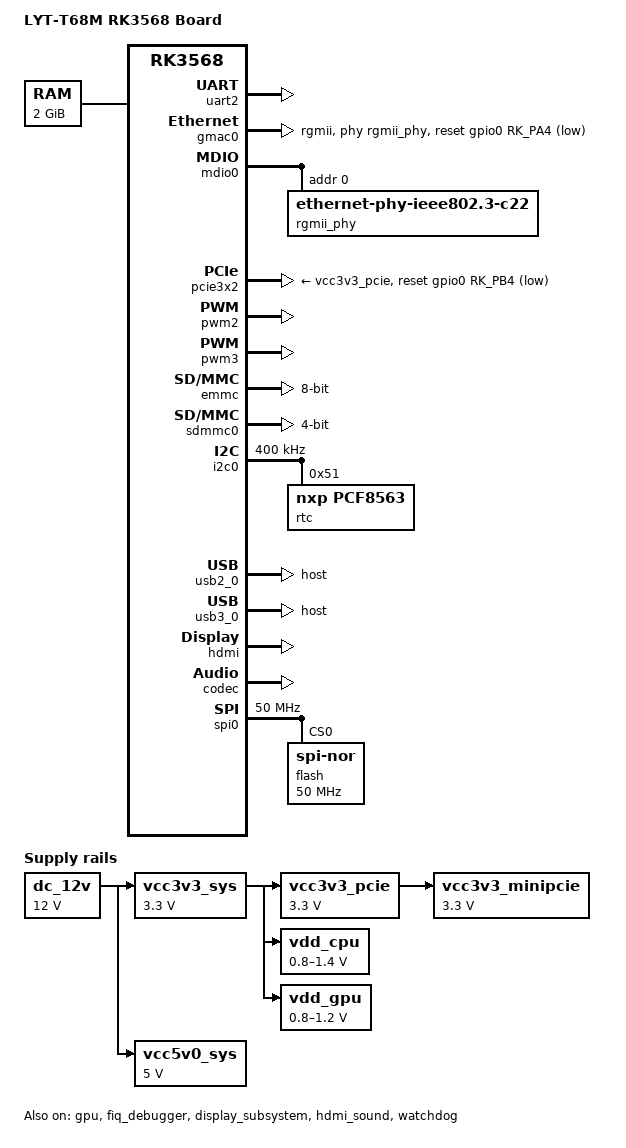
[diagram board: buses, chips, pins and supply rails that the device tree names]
// SPDX-License-Identifier: (GPL-2.0+ OR MIT)
/*
 * Copyright (c) 2021 Rockchip Electronics Co., Ltd.
 * Copyright (c) 2024 LYT Technology
 */

/dts-v1/;
#include "rk3568.dtsi"

/ {
	model = "LYT-T68M RK3568 Board";
	compatible = "lyt,t68m", "rockchip,rk3568";

	aliases {
		serial0 = &uart2;
		ethernet0 = &gmac0;
	};

	chosen {
		stdout-path = "serial0:115200n8";
	};

	memory@0 {
		device_type = "memory";
		reg = <0x0 0x0 0x0 0x80000000>; // 2GB RAM
	};

	dc_12v: dc-12v {
		compatible = "regulator-fixed";
		regulator-name = "dc_12v";
		regulator-min-microvolt = <12000000>;
		regulator-max-microvolt = <12000000>;
		regulator-always-on;
		regulator-boot-on;
	};

	vcc3v3_sys: vcc3v3-sys {
		compatible = "regulator-fixed";
		regulator-name = "vcc3v3_sys";
		regulator-min-microvolt = <3300000>;
		regulator-max-microvolt = <3300000>;
		vin-supply = <&dc_12v>;
		regulator-always-on;
		regulator-boot-on;
	};

	vcc5v0_sys: vcc5v0-sys {
		compatible = "regulator-fixed";
		regulator-name = "vcc5v0_sys";
		regulator-min-microvolt = <5000000>;
		regulator-max-microvolt = <5000000>;
		vin-supply = <&dc_12v>;
		regulator-always-on;
		regulator-boot-on;
	};

	vcc3v3_pcie: vcc3v3-pcie {
		compatible = "regulator-fixed";
		regulator-name = "vcc3v3_pcie";
		regulator-min-microvolt = <3300000>;
		regulator-max-microvolt = <3300000>;
		vin-supply = <&vcc3v3_sys>;
		regulator-always-on;
		regulator-boot-on;
	};

	vcc3v3_minipcie: vcc3v3-minipcie {
		compatible = "regulator-fixed";
		regulator-name = "vcc3v3_minipcie";
		regulator-min-microvolt = <3300000>;
		regulator-max-microvolt = <3300000>;
		vin-supply = <&vcc3v3_pcie>;
		regulator-always-on;
		regulator-boot-on;
	};

	vdd_cpu: vdd-cpu {
		compatible = "pwm-regulator";
		regulator-name = "vdd_cpu";
		regulator-min-microvolt = <800000>;
		regulator-max-microvolt = <1400000>;
		pwm-supply = <&vcc3v3_sys>;
		pwms = <&pwm2 0 2500 0>;
		pwm-dutycycle-range = <100 0>;
		regulator-always-on;
		regulator-boot-on;
	};

	vdd_gpu: vdd-gpu {
		compatible = "pwm-regulator";
		regulator-name = "vdd_gpu";
		regulator-min-microvolt = <800000>;
		regulator-max-microvolt = <1200000>;
		pwm-supply = <&vcc3v3_sys>;
		pwms = <&pwm3 0 2500 0>;
		pwm-dutycycle-range = <100 0>;
		regulator-always-on;
		regulator-boot-on;
	};
};

&cpu0 {
	cpu-supply = <&vdd_cpu>;
	operating-points-v2 = <&cpu_opp_table>;
	clocks = <&cru CLK_CPU>;
	clock-latency = <100000>;
};

&cpu1 {
	cpu-supply = <&vdd_cpu>;
	operating-points-v2 = <&cpu_opp_table>;
	clocks = <&cru CLK_CPU>;
	clock-latency = <100000>;
};

&cpu2 {
	cpu-supply = <&vdd_cpu>;
	operating-points-v2 = <&cpu_opp_table>;
	clocks = <&cru CLK_CPU>;
	clock-latency = <100000>;
};

&cpu3 {
	cpu-supply = <&vdd_cpu>;
	operating-points-v2 = <&cpu_opp_table>;
	clocks = <&cru CLK_CPU>;
	clock-latency = <100000>;
};

&gpu {
	mali-supply = <&vdd_gpu>;
	operating-points-v2 = <&gpu_opp_table>;
	clocks = <&cru CLK_GPU>;
	clock-latency = <100000>;
	status = "okay";
};

&cpu_opp_table {
	opp-1008000000 {
		opp-hz = /bits/ 64 <1008000000>;
		opp-microvolt = <800000>;
	};
	opp-1200000000 {
		opp-hz = /bits/ 64 <1200000000>;
		opp-microvolt = <850000>;
	};
	opp-1416000000 {
		opp-hz = /bits/ 64 <1416000000>;
		opp-microvolt = <900000>;
	};
	opp-1512000000 {
		opp-hz = /bits/ 64 <1512000000>;
		opp-microvolt = <950000>;
	};
	opp-1608000000 {
		opp-hz = /bits/ 64 <1608000000>;
		opp-microvolt = <1000000>;
	};
	opp-1704000000 {
		opp-hz = /bits/ 64 <1704000000>;
		opp-microvolt = <1050000>;
	};
	opp-1800000000 {
		opp-hz = /bits/ 64 <1800000000>;
		opp-microvolt = <1100000>;
	};
};

&gpu_opp_table {
	opp-200000000 {
		opp-hz = /bits/ 64 <200000000>;
		opp-microvolt = <800000>;
	};
	opp-400000000 {
		opp-hz = /bits/ 64 <400000000>;
		opp-microvolt = <850000>;
	};
	opp-600000000 {
		opp-hz = /bits/ 64 <600000000>;
		opp-microvolt = <900000>;
	};
	opp-800000000 {
		opp-hz = /bits/ 64 <800000000>;
		opp-microvolt = <950000>;
	};
};

&uart2 {
	status = "okay";
	pinctrl-0 = <&uart2m0_xfer>;
	pinctrl-names = "default";
};

&fiq_debugger {
	compatible = "rockchip,fiq-debugger";
	rockchip,serial-id = <2>;
	rockchip,phy-mode = "uart";
	rockchip,reg-phy-mask = <0x20>;
	interrupts = <GIC_SPI 25 IRQ_TYPE_LEVEL_HIGH>;
	rockchip,baudrate = <115200>; /* Standard baudrate for debug */
	status = "okay";
};

&gmac0 {
	phy-handle = <&rgmii_phy>;
	phy-mode = "rgmii";
	clock_in_out = "output";
	snps,reset-gpio = <&gpio0 RK_PA4 GPIO_ACTIVE_LOW>;
	snps,reset-active-low;
	snps,reset-delays-us = <0 10000 1000000>;
	pinctrl-0 = <&gmac0_miim
		     &gmac0_rgmii_clk
		     &gmac0_rgmii_tx
		     &gmac0_rgmii_rx>;
	pinctrl-names = "default";
	status = "okay";
};

&mdio0 {
	rgmii_phy: ethernet-phy@0 {
		compatible = "ethernet-phy-ieee802.3-c22";
		reg = <0>;
		phy-mode = "rgmii";
	};
};

&pcie3x2 {
	reset-gpios = <&gpio0 RK_PB4 GPIO_ACTIVE_LOW>;
	vpcie3v3-supply = <&vcc3v3_pcie>;
	vpcie1v8-supply = <&vcc3v3_sys>;
	vpcie0v9-supply = <&vcc3v3_sys>;
	pinctrl-0 = <&pcie3x2_rst>;
	pinctrl-names = "default";
	status = "okay";
	
	pcie@00 {
		reg = <0x000000 0 0 0 0>;
		#address-cells = <3>;
		#size-cells = <2>;
		device_type = "pci";
		ranges;
		bus-range = <0x00 0xff>;
		
		minipcie@0,0 {
			reg = <0x0000 0 0 0 0>;
			vcc3v3-supply = <&vcc3v3_minipcie>;
			status = "okay";
		};
	};
};

&pwm2 {
	status = "okay";
};

&pwm3 {
	status = "okay";
};

&nandc0 {
	#address-cells = <1>;
	#size-cells = <0>;
	status = "disabled"; /* Disable NAND if not present */
};

&emmc {
	bus-width = <8>;
	max-frequency = <200000000>;
	cap-mmc-highspeed;
	mmc-ddr-1_8v;
	mmc-hs200-1_8v;
	pinctrl-0 = <&emmc_clk &emmc_cmd &emmc_bus8>;
	pinctrl-names = "default";
	status = "okay";
};

&sdmmc0 {
	bus-width = <4>;
	max-frequency = <150000000>;
	cap-mmc-highspeed;
	cap-sd-highspeed;
	pinctrl-0 = <&sdmmc0_clk &sdmmc0_cmd &sdmmc0_bus4>;
	pinctrl-names = "default";
	status = "okay";
};

&i2c0 {
	status = "okay";
	clock-frequency = <400000>;
	pinctrl-0 = <&i2c0_scl &i2c0_sda>;
	pinctrl-names = "default";
	
	rtc@51 {
		compatible = "nxp,pcf8563";
		reg = <0x51>;
		status = "okay";
	};
};

&usb2_0 {
	status = "okay";
	dr_mode = "host";
	pinctrl-0 = <&usb2_0_drv>;
	pinctrl-names = "default";
};

&usb3_0 {
	status = "okay";
	dr_mode = "host";
	pinctrl-0 = <&usb3_0_drv>;
	pinctrl-names = "default";
};

&hdmi {
	status = "okay";
	ddc-i2c-bus = <&i2c4>;
	pinctrl-0 = <&hdmi_cec &hdmi_hpd &hdmi_scl &hdmi_sda>;
	pinctrl-names = "default";
};

&display_subsystem {
	status = "okay";
};

&dsi0 {
	status = "disabled"; /* Disable DSI if not used */
};

&lvds {
	status = "disabled"; /* Disable LVDS if not used */
};

&codec {
	status = "okay";
};

&hdmi_sound {
	status = "okay";
};

&spi0 {
	status = "okay";
	clock-frequency = <50000000>;
	pinctrl-0 = <&spi0_cs0 &spi0_sclk &spi0_mosi &spi0_miso>;
	pinctrl-names = "default";
	
	flash@0 {
		compatible = "jedec,spi-nor";
		reg = <0>;
		spi-max-frequency = <50000000>;
	};
};

&watchdog {
	status = "okay";
	timeout-sec = <120>;
};

&thermal {
	status = "okay";
	rockchip,hw-tshut-temp = <100000>;
	rockchip,hw-tshut-mode = <0>;
};
